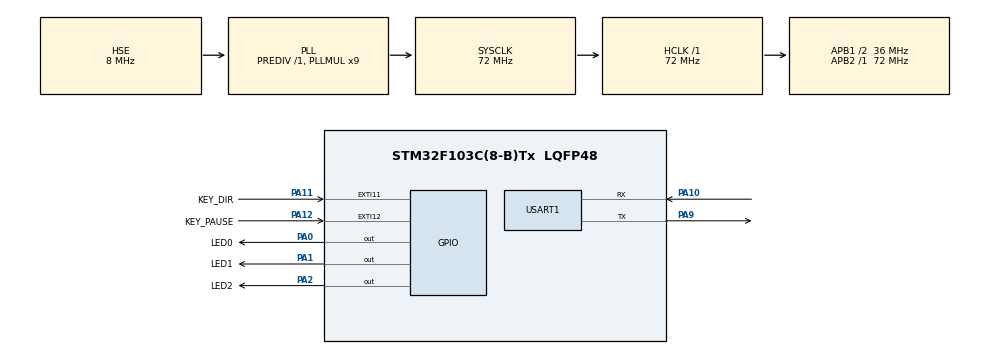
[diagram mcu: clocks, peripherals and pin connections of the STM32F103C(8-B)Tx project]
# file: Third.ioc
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Mcu.Family=STM32F1
Mcu.Name=STM32F103C(8-B)Tx
Mcu.Package=LQFP48
NVIC.EXTI15_10_IRQn=true\:0\:0\:false\:false\:true\:true\:true\:true
NVIC.PriorityGroup=NVIC_PRIORITYGROUP_4
NVIC.USART1_IRQn=true\:0\:0\:false\:false\:true\:true\:true\:true
PA0-WKUP.GPIO_Label=LED0
PA0-WKUP.Signal=GPIO_Output
PA1.GPIO_Label=LED1
PA1.Signal=GPIO_Output
PA10.Mode=Asynchronous
PA10.Signal=USART1_RX
PA11.GPIO_Label=KEY_DIR
PA11.GPIO_ModeDefaultEXTI=GPIO_MODE_IT_FALLING
PA11.GPIO_PuPd=GPIO_PULLUP
PA11.Signal=GPXTI11
PA12.GPIO_Label=KEY_PAUSE
PA12.GPIO_ModeDefaultEXTI=GPIO_MODE_IT_FALLING
PA12.GPIO_PuPd=GPIO_PULLUP
PA12.Signal=GPXTI12
PA2.GPIO_Label=LED2
PA2.Signal=GPIO_Output
PA9.Mode=Asynchronous
PA9.Signal=USART1_TX
PD0-OSC_IN.Mode=HSE-External-Oscillator
PD0-OSC_IN.Signal=RCC_OSC_IN
PD1-OSC_OUT.Mode=HSE-External-Oscillator
PD1-OSC_OUT.Signal=RCC_OSC_OUT
ProjectManager.HeapSize=0x200
ProjectManager.StackSize=0x400
ProjectManager.TargetToolchain=STM32CubeIDE
RCC.AHBFreq_Value=72000000
RCC.APB1CLKDivider=RCC_HCLK_DIV2
RCC.APB1Freq_Value=36000000
RCC.APB1TimFreq_Value=72000000
RCC.APB2Freq_Value=72000000
RCC.APB2TimFreq_Value=72000000
RCC.HCLKFreq_Value=72000000
RCC.PLLMUL=RCC_PLL_MUL9
RCC.PLLSourceVirtual=RCC_PLLSOURCE_HSE
RCC.SYSCLKFreq_VALUE=72000000
RCC.SYSCLKSource=RCC_SYSCLKSOURCE_PLLCLK
RCC.USBFreq_Value=72000000
USART1.VirtualMode=VM_ASYNC
VP_SYS_VS_SWD.Mode=Serial_Wire
board=custom

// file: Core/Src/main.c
/* USER CODE BEGIN Header */
/**
  ******************************************************************************
  * @file           : main.c
  * @brief          : Main program body
  ******************************************************************************
  * @attention
  *
  * Copyright (c) 2026 STMicroelectronics.
  * All rights reserved.
  *
  * This software is licensed under terms that can be found in the LICENSE file
  * in the root directory of this software component.
  * If no LICENSE file comes with this software, it is provided AS-IS.
  *
  ******************************************************************************
  */
/* USER CODE END Header */
#include "main.h"

/* USER CODE BEGIN Includes */
#include <stdio.h>
#include "oled.h"

/* USER CODE END Includes */

/* USER CODE BEGIN PTD */
typedef struct __attribute__((packed)) {
  uint8_t  header;    /* 0xAA 帧头 */
  uint8_t  run;       /* 0=暂停 1=运行 */
  uint8_t  dir;       /* 0=正向 1=反向 */
  uint16_t step;      /* 切换间隔 ms（低字节在前）*/
  uint8_t  checksum;
} CmdPacket;            /* 共 6 字节 */

/* USER CODE END PTD */

UART_HandleTypeDef huart1;

/* USER CODE BEGIN PV */
/* ---- 运行状态 ---- */
uint8_t  run_flag   = 1;      /* 1=运行 0=暂停 */
uint8_t  dir_flag   = 0;      /* 0=正向 1=反向 */
uint16_t interval_ms = 300;   /* 切换间隔 */
uint8_t  led_index  = 0;      /* 当前点亮 0/1/2 */
uint32_t last_tick  = 0;

/* ---- 按键事件（中断置位，主循环清零）---- */
volatile uint8_t  dir_event   = 0;
volatile uint8_t  pause_event = 0;

/* ---- 按键消抖：每个按键各自记录上次被接受的时间 ---- */
volatile uint32_t last_dir_tick   = 0;
volatile uint32_t last_pause_tick = 0;

/* ---- 调试计数：记录每个按键"被接受"的中断次数（用于验证抖动是否已消除）---- */
volatile uint32_t dir_cnt   = 0;
volatile uint32_t pause_cnt = 0;

/* ---- 串口数据包 ---- */
CmdPacket        rx_packet;
volatile uint8_t packet_ready = 0;
uint8_t          feedback_req = 0;

/* ---- 串口收包统计（可通过 SWD 读出，用来区分"线没接"和"校验没过"）---- */
volatile uint32_t uart_ok   = 0;   /* 收到并执行的合法包 */
volatile uint32_t uart_bad  = 0;   /* 收到了 6 字节但校验/字段不合法 */
volatile uint32_t uart_err  = 0;   /* UART 硬件错误（溢出 ORE 等）次数 */

/* ---- 串口反馈 ---- */
uint8_t          tx_msg[64];
volatile uint8_t tx_busy = 0;

/* ---- OLED 刷新标志（状态变化时置 1，主循环刷新后清 0）---- */
uint8_t          oled_dirty = 1;

/* USER CODE END PV */

void SystemClock_Config(void);
static void MX_GPIO_Init(void);
static void MX_USART1_UART_Init(void);

/* USER CODE BEGIN 0 */

/* 把一行字符串补齐到 16 个字符：一行 128 像素宽，8x16 字符宽 8 像素，正好 16 个。
   补齐用空格，这样重画时整行都被覆盖，不需要先清屏（清屏要多写一倍数据，还慢）。 */
static void oled_line_pad(char *s)
{
  uint8_t n = 0;
  while (s[n] != '\0' && n < 16) { n++; }
  while (n < 16) { s[n++] = ' '; }
  s[n] = '\0';
}

/* USER CODE END 0 */

int main(void)
{

  /* MCU Configuration--------------------------------------------------------*/

  /* Reset of all peripherals, Initializes the Flash interface and the Systick. */
  HAL_Init();

  /* Configure the system clock */
  SystemClock_Config();

  /* Initialize all configured peripherals */
  MX_GPIO_Init();
  MX_USART1_UART_Init();
  /* USER CODE BEGIN 2 */
  last_tick = HAL_GetTick();
  /* 启动串口接收中断，等待一整包 6 字节 */
  HAL_UART_Receive_IT(&huart1, (uint8_t *)&rx_packet, sizeof(rx_packet));

  /* 初始化 OLED（软件 I2C：PB0=SDA，PB1=SCL） */
  OLED_Init();
  OLED_Clear();

  /* 上电先把 LED0 点亮，和 OLED 显示的 LED 编号一致 */
  HAL_GPIO_WritePin(LED0_GPIO_Port, LED0_Pin, GPIO_PIN_SET);
  led_index = 0;
  oled_dirty = 1;

  /* USER CODE END 2 */

  /* Infinite loop */
  while (1)
  {

    /* USER CODE BEGIN 3 */

    /* ---- 1. 处理按键事件 ---- */
  if (dir_event) {
    dir_event = 0;
    dir_flag = !dir_flag;
    feedback_req = 1;
    oled_dirty = 1;
  }
  if (pause_event) {
    pause_event = 0;
    run_flag = !run_flag;
    feedback_req = 1;
    oled_dirty = 1;
  }

  /* ---- 2. 处理串口数据包 ---- */
  if (packet_ready) {
    CmdPacket p = rx_packet;
    packet_ready = 0;

    const uint8_t *b = (const uint8_t *)&p;
    uint8_t expected = (uint8_t)(b[0] + b[1] + b[2] + b[3] + b[4]);

    if (p.header == 0xAA && p.checksum == expected
        && p.run <= 1 && p.dir <= 1
        && p.step >= 100 && p.step <= 2000) {
      run_flag = p.run;
      dir_flag = p.dir;
      interval_ms = p.step;
      feedback_req = 1;
      oled_dirty = 1;
      uart_ok++;
    } else {
      uart_bad++;   /* 收到 6 字节但内容不合法，计数器留证据 */
    }

    /* 重新开启接收，等下一包；如果 HAL 处于忙/错误态，先复位接收状态再重开，
       否则一次溢出错误会让接收永久停摆（这就是刚才"发什么都不回"的原因） */
    if (HAL_UART_Receive_IT(&huart1, (uint8_t *)&rx_packet, sizeof(rx_packet)) != HAL_OK) {
      __HAL_UART_CLEAR_OREFLAG(&huart1);
      huart1.RxState = HAL_UART_STATE_READY;
      HAL_UART_Receive_IT(&huart1, (uint8_t *)&rx_packet, sizeof(rx_packet));
    }
  }

  /* ---- 3. 流水灯推进（非阻塞）---- */
  if (run_flag) {
    if (HAL_GetTick() - last_tick >= interval_ms) {
      last_tick = HAL_GetTick();

      if (dir_flag == 0) {
        led_index = (led_index + 1) % 3;       /* 正向 */
      } else {
        led_index = (led_index + 2) % 3;       /* 反向 */
      }

      HAL_GPIO_WritePin(LED0_GPIO_Port, LED0_Pin, GPIO_PIN_RESET);
      HAL_GPIO_WritePin(LED1_GPIO_Port, LED1_Pin, GPIO_PIN_RESET);
      HAL_GPIO_WritePin(LED2_GPIO_Port, LED2_Pin, GPIO_PIN_RESET);
      if (led_index == 0)     HAL_GPIO_WritePin(LED0_GPIO_Port, LED0_Pin, GPIO_PIN_SET);
      else if (led_index == 1) HAL_GPIO_WritePin(LED1_GPIO_Port, LED1_Pin, GPIO_PIN_SET);
      else                     HAL_GPIO_WritePin(LED2_GPIO_Port, LED2_Pin, GPIO_PIN_SET);

      oled_dirty = 1;   /* LED 编号变化，OLED 里的 LED 编号要同步刷新 */
    }
  }

  /* ---- 4. OLED 状态刷新（只在状态变化时刷，避免占用总线）---- */
  if (oled_dirty) {
    char line[24];
    oled_dirty = 0;

    /* 每行补齐到 16 个字符后再画：整行被覆盖，旧内容不会残留，也不用额外清屏 */
    snprintf(line, sizeof(line), "STATE: %s", run_flag ? "RUN" : "PAUSE");
    oled_line_pad(line);
    OLED_ShowString(0, 0, line);

    snprintf(line, sizeof(line), "DIR: %s", dir_flag ? "REV" : "FWD");
    oled_line_pad(line);
    OLED_ShowString(0, 2, line);

    snprintf(line, sizeof(line), "STEP: %ums", (unsigned int)interval_ms);
    oled_line_pad(line);
    OLED_ShowString(0, 4, line);

    snprintf(line, sizeof(line), "LED: %u", (unsigned int)(led_index + 1));
    oled_line_pad(line);
    OLED_ShowString(0, 6, line);
  }

  /* ---- 5. 串口反馈（中断发送）---- */
  if (feedback_req && !tx_busy) {
    int n = snprintf((char *)tx_msg, sizeof(tx_msg),
        "STATE=%s,DIR=%s,STEP=%u,LED=%u\r\n",
        run_flag ? "RUN" : "PAUSE",
        dir_flag ? "REV" : "FWD",
        interval_ms, led_index + 1);
    if (n > 0 && HAL_UART_Transmit_IT(&huart1, tx_msg, (uint16_t)n) == HAL_OK) {
      tx_busy = 1;
      feedback_req = 0;
    }
  }

  /* USER CODE END 3 */
  }
}

void SystemClock_Config(void)
{
  RCC_OscInitTypeDef RCC_OscInitStruct = {0};
  RCC_ClkInitTypeDef RCC_ClkInitStruct = {0};

  /** Initializes the RCC Oscillators according to the specified parameters
  * in the RCC_OscInitTypeDef structure.
  */
  RCC_OscInitStruct.OscillatorType = RCC_OSCILLATORTYPE_HSE;
  RCC_OscInitStruct.HSEState = RCC_HSE_ON;
  RCC_OscInitStruct.HSEPredivValue = RCC_HSE_PREDIV_DIV1;
  RCC_OscInitStruct.HSIState = RCC_HSI_ON;
  RCC_OscInitStruct.PLL.PLLState = RCC_PLL_ON;
  RCC_OscInitStruct.PLL.PLLSource = RCC_PLLSOURCE_HSE;
  RCC_OscInitStruct.PLL.PLLMUL = RCC_PLL_MUL9;
  if (HAL_RCC_OscConfig(&RCC_OscInitStruct) != HAL_OK)
  {
    Error_Handler();
  }

  /** Initializes the CPU, AHB and APB buses clocks
  */
  RCC_ClkInitStruct.ClockType = RCC_CLOCKTYPE_HCLK|RCC_CLOCKTYPE_SYSCLK
                              |RCC_CLOCKTYPE_PCLK1|RCC_CLOCKTYPE_PCLK2;
  RCC_ClkInitStruct.SYSCLKSource = RCC_SYSCLKSOURCE_PLLCLK;
  RCC_ClkInitStruct.AHBCLKDivider = RCC_SYSCLK_DIV1;
  RCC_ClkInitStruct.APB1CLKDivider = RCC_HCLK_DIV2;
  RCC_ClkInitStruct.APB2CLKDivider = RCC_HCLK_DIV1;

  if (HAL_RCC_ClockConfig(&RCC_ClkInitStruct, FLASH_LATENCY_2) != HAL_OK)
  {
    Error_Handler();
  }
}

static void MX_USART1_UART_Init(void)
{

  huart1.Instance = USART1;
  huart1.Init.BaudRate = 115200;
  huart1.Init.WordLength = UART_WORDLENGTH_8B;
  huart1.Init.StopBits = UART_STOPBITS_1;
  huart1.Init.Parity = UART_PARITY_NONE;
  huart1.Init.Mode = UART_MODE_TX_RX;
  huart1.Init.HwFlowCtl = UART_HWCONTROL_NONE;
  huart1.Init.OverSampling = UART_OVERSAMPLING_16;
  if (HAL_UART_Init(&huart1) != HAL_OK)
  {
    Error_Handler();
  }

}

static void MX_GPIO_Init(void)
{
  GPIO_InitTypeDef GPIO_InitStruct = {0};

  /* GPIO Ports Clock Enable */
  __HAL_RCC_GPIOD_CLK_ENABLE();
  __HAL_RCC_GPIOA_CLK_ENABLE();

  /*Configure GPIO pin Output Level */
  HAL_GPIO_WritePin(GPIOA, LED0_Pin|LED1_Pin|LED2_Pin, GPIO_PIN_RESET);

  /*Configure GPIO pins : LED0_Pin LED1_Pin LED2_Pin */
  GPIO_InitStruct.Pin = LED0_Pin|LED1_Pin|LED2_Pin;
  GPIO_InitStruct.Mode = GPIO_MODE_OUTPUT_PP;
  GPIO_InitStruct.Pull = GPIO_NOPULL;
  GPIO_InitStruct.Speed = GPIO_SPEED_FREQ_LOW;
  HAL_GPIO_Init(GPIOA, &GPIO_InitStruct);

  /*Configure GPIO pins : KEY_DIR_Pin KEY_PAUSE_Pin */
  GPIO_InitStruct.Pin = KEY_DIR_Pin|KEY_PAUSE_Pin;
  GPIO_InitStruct.Mode = GPIO_MODE_IT_FALLING;
  GPIO_InitStruct.Pull = GPIO_PULLUP;
  HAL_GPIO_Init(GPIOA, &GPIO_InitStruct);

  /* EXTI interrupt init*/
  HAL_NVIC_SetPriority(EXTI15_10_IRQn, 0, 0);
  HAL_NVIC_EnableIRQ(EXTI15_10_IRQn);

}

/* USER CODE BEGIN 4 */
/* 按键外部中断回调（PA11 方向 / PA12 暂停）*/
void HAL_GPIO_EXTI_Callback(uint16_t GPIO_Pin)
{
  uint32_t now = HAL_GetTick();

  if (GPIO_Pin == GPIO_PIN_11) {
    if (now - last_dir_tick < 100) return;   /* 100ms 消抖：抖动产生的重复边沿直接丢弃 */
    last_dir_tick = now;
    dir_cnt++;
    dir_event = 1;
  } else if (GPIO_Pin == GPIO_PIN_12) {
    if (now - last_pause_tick < 100) return;
    last_pause_tick = now;
    pause_cnt++;
    pause_event = 1;
  }
}

/* 串口收满 6 字节完成回调 */
void HAL_UART_RxCpltCallback(UART_HandleTypeDef *huart)
{
  if (huart->Instance == USART1) {
    packet_ready = 1;
  }
}

/* 串口发送完成回调 */
void HAL_UART_TxCpltCallback(UART_HandleTypeDef *huart)
{
  if (huart->Instance == USART1) {
    tx_busy = 0;
  }
}

/* UART 出错（最常见是溢出 ORE：主机发得太快、上一包还没收完又来新字节）
   必须在这里清错误标志并把接收重新挂起来，否则 HAL 会卡在 BUSY 状态，之后永远收不到数据 */
void HAL_UART_ErrorCallback(UART_HandleTypeDef *huart)
{
  if (huart->Instance == USART1) {
    uart_err++;
    __HAL_UART_CLEAR_OREFLAG(huart);
    huart->ErrorCode = HAL_UART_ERROR_NONE;
    huart->RxState = HAL_UART_STATE_READY;
    HAL_UART_Receive_IT(&huart1, (uint8_t *)&rx_packet, sizeof(rx_packet));
  }
}

/* USER CODE END 4 */

void Error_Handler(void)
{
  __disable_irq();
  while (1)
  {
  }
}
